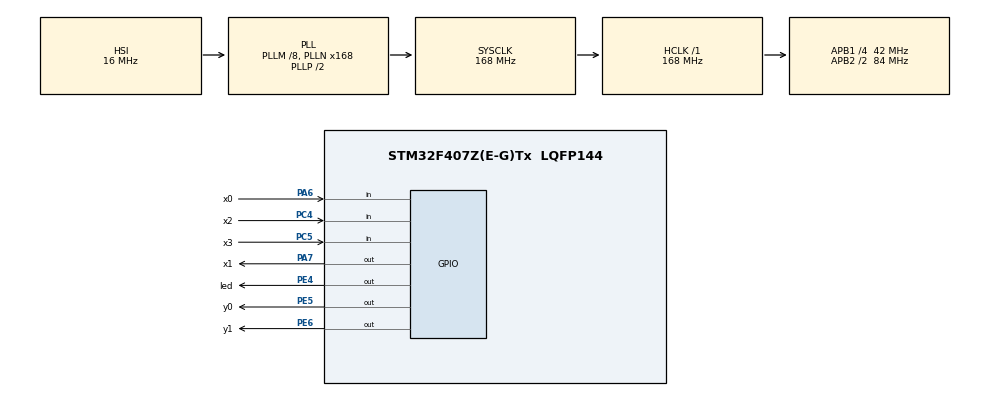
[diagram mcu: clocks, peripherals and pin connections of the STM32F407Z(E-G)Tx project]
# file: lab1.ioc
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Mcu.Family=STM32F4
Mcu.Name=STM32F407Z(E-G)Tx
Mcu.Package=LQFP144
NVIC.PriorityGroup=NVIC_PRIORITYGROUP_4
PA13.Mode=Serial_Wire
PA13.Signal=SYS_JTMS-SWDIO
PA14.Mode=Serial_Wire
PA14.Signal=SYS_JTCK-SWCLK
PA6.GPIO_Label=x0
PA6.Signal=GPIO_Input
PA7.GPIO_Label=x1
PA7.Signal=GPIO_Output
PC4.GPIO_Label=x2
PC4.Signal=GPIO_Input
PC5.GPIO_Label=x3
PC5.Signal=GPIO_Input
PE4.GPIO_Label=led
PE4.Signal=GPIO_Output
PE5.GPIO_Label=y0
PE5.Signal=GPIO_Output
PE6.GPIO_Label=y1
PE6.Signal=GPIO_Output
PH0-OSC_IN.Mode=HSE-External-Oscillator
PH0-OSC_IN.Signal=RCC_OSC_IN
PH1-OSC_OUT.Mode=HSE-External-Oscillator
PH1-OSC_OUT.Signal=RCC_OSC_OUT
ProjectManager.HeapSize=0x200
ProjectManager.StackSize=0x400
ProjectManager.TargetToolchain=STM32CubeIDE
RCC.48MHZClocksFreq_Value=84000000
RCC.AHBFreq_Value=168000000
RCC.APB1CLKDivider=RCC_HCLK_DIV4
RCC.APB1Freq_Value=42000000
RCC.APB1TimFreq_Value=84000000
RCC.APB2CLKDivider=RCC_HCLK_DIV2
RCC.APB2Freq_Value=84000000
RCC.APB2TimFreq_Value=168000000
RCC.CortexFreq_Value=168000000
RCC.HCLKFreq_Value=168000000
RCC.HSE_VALUE=8000000
RCC.HSI_VALUE=16000000
RCC.LSE_VALUE=32768
RCC.PLLM=8
RCC.PLLN=168
RCC.SYSCLKFreq_VALUE=168000000
RCC.SYSCLKSource=RCC_SYSCLKSOURCE_PLLCLK
RCC.VCOOutputFreq_Value=336000000
board=custom

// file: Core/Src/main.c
/* USER CODE BEGIN Header */
/**
  ******************************************************************************
  * @file           : main.c
  * @brief          : Main program body
  ******************************************************************************
  * @attention
  *
  * <h2><center>&copy; Copyright (c) 2024 STMicroelectronics.
  * All rights reserved.</center></h2>
  *
  * This software component is licensed by ST under BSD 3-Clause license,
  * the "License"; You may not use this file except in compliance with the
  * License. You may obtain a copy of the License at:
  *                        opensource.org/licenses/BSD-3-Clause
  *
  ******************************************************************************
  */
/* USER CODE END Header */
#include "main.h"

void SystemClock_Config(void);
static void MX_GPIO_Init(void);

/* USER CODE BEGIN 0 */
int cnt = 0;

void q1(){
	  HAL_GPIO_WritePin(led_GPIO_Port, led_Pin, SET);
	  HAL_Delay(2000);
	  HAL_GPIO_WritePin(led_GPIO_Port, led_Pin, RESET);
	  HAL_Delay(4000);
}

void q2(){
	if (cnt == 2){
		HAL_GPIO_TogglePin(led_GPIO_Port, led_Pin);
	}else if (cnt == 6){
		HAL_GPIO_TogglePin(led_GPIO_Port, led_Pin);
		cnt = 0;
	}cnt++;
}

void q3(){
	if (cnt == 5){
		HAL_GPIO_TogglePin(led_GPIO_Port, led_Pin);	//red off
		HAL_GPIO_TogglePin(y0_GPIO_Port, y0_Pin); //green on
	}else if (cnt == 8){
		HAL_GPIO_TogglePin(y0_GPIO_Port, y0_Pin); //green off
		HAL_GPIO_TogglePin(y1_GPIO_Port, y1_Pin); //y on
	}else if (cnt == 9){
		HAL_GPIO_TogglePin(y1_GPIO_Port, y1_Pin);
		HAL_GPIO_TogglePin(led_GPIO_Port, led_Pin);
		cnt=0;
	}cnt++;
}
/* USER CODE END 0 */

int main(void)
{

  /* MCU Configuration--------------------------------------------------------*/

  /* Reset of all peripherals, Initializes the Flash interface and the Systick. */
  HAL_Init();

  /* Configure the system clock */
  SystemClock_Config();

  /* Initialize all configured peripherals */
  MX_GPIO_Init();
  /* USER CODE BEGIN 2 */
  HAL_GPIO_WritePin(led_GPIO_Port, led_Pin, 1);
  HAL_GPIO_WritePin(y0_GPIO_Port, y0_Pin, 0);
  HAL_GPIO_WritePin(y1_GPIO_Port, y1_Pin, 0);
  /* USER CODE END 2 */

  /* Infinite loop */
  /* USER CODE BEGIN WHILE */
  while (1)
  {
//	  q1();
//	  q2();
//	  q3();
	  HAL_Delay(1000);
    /* USER CODE END WHILE */

  }
}

void SystemClock_Config(void)
{
  RCC_OscInitTypeDef RCC_OscInitStruct = {0};
  RCC_ClkInitTypeDef RCC_ClkInitStruct = {0};

  /** Configure the main internal regulator output voltage
  */
  __HAL_RCC_PWR_CLK_ENABLE();
  __HAL_PWR_VOLTAGESCALING_CONFIG(PWR_REGULATOR_VOLTAGE_SCALE1);
  /** Initializes the RCC Oscillators according to the specified parameters
  * in the RCC_OscInitTypeDef structure.
  */
  RCC_OscInitStruct.OscillatorType = RCC_OSCILLATORTYPE_HSI;
  RCC_OscInitStruct.HSIState = RCC_HSI_ON;
  RCC_OscInitStruct.HSICalibrationValue = RCC_HSICALIBRATION_DEFAULT;
  RCC_OscInitStruct.PLL.PLLState = RCC_PLL_ON;
  RCC_OscInitStruct.PLL.PLLSource = RCC_PLLSOURCE_HSI;
  RCC_OscInitStruct.PLL.PLLM = 8;
  RCC_OscInitStruct.PLL.PLLN = 168;
  RCC_OscInitStruct.PLL.PLLP = RCC_PLLP_DIV2;
  RCC_OscInitStruct.PLL.PLLQ = 4;
  if (HAL_RCC_OscConfig(&RCC_OscInitStruct) != HAL_OK)
  {
    Error_Handler();
  }
  /** Initializes the CPU, AHB and APB buses clocks
  */
  RCC_ClkInitStruct.ClockType = RCC_CLOCKTYPE_HCLK|RCC_CLOCKTYPE_SYSCLK
                              |RCC_CLOCKTYPE_PCLK1|RCC_CLOCKTYPE_PCLK2;
  RCC_ClkInitStruct.SYSCLKSource = RCC_SYSCLKSOURCE_PLLCLK;
  RCC_ClkInitStruct.AHBCLKDivider = RCC_SYSCLK_DIV1;
  RCC_ClkInitStruct.APB1CLKDivider = RCC_HCLK_DIV4;
  RCC_ClkInitStruct.APB2CLKDivider = RCC_HCLK_DIV2;

  if (HAL_RCC_ClockConfig(&RCC_ClkInitStruct, FLASH_LATENCY_5) != HAL_OK)
  {
    Error_Handler();
  }
}

static void MX_GPIO_Init(void)
{
  GPIO_InitTypeDef GPIO_InitStruct = {0};

  /* GPIO Ports Clock Enable */
  __HAL_RCC_GPIOE_CLK_ENABLE();
  __HAL_RCC_GPIOH_CLK_ENABLE();
  __HAL_RCC_GPIOA_CLK_ENABLE();
  __HAL_RCC_GPIOC_CLK_ENABLE();

  /*Configure GPIO pin Output Level */
  HAL_GPIO_WritePin(GPIOE, led_Pin|y0_Pin|y1_Pin, GPIO_PIN_RESET);

  /*Configure GPIO pin Output Level */
  HAL_GPIO_WritePin(x1_GPIO_Port, x1_Pin, GPIO_PIN_RESET);

  /*Configure GPIO pins : led_Pin y0_Pin y1_Pin */
  GPIO_InitStruct.Pin = led_Pin|y0_Pin|y1_Pin;
  GPIO_InitStruct.Mode = GPIO_MODE_OUTPUT_PP;
  GPIO_InitStruct.Pull = GPIO_NOPULL;
  GPIO_InitStruct.Speed = GPIO_SPEED_FREQ_LOW;
  HAL_GPIO_Init(GPIOE, &GPIO_InitStruct);

  /*Configure GPIO pin : x0_Pin */
  GPIO_InitStruct.Pin = x0_Pin;
  GPIO_InitStruct.Mode = GPIO_MODE_INPUT;
  GPIO_InitStruct.Pull = GPIO_NOPULL;
  HAL_GPIO_Init(x0_GPIO_Port, &GPIO_InitStruct);

  /*Configure GPIO pin : x1_Pin */
  GPIO_InitStruct.Pin = x1_Pin;
  GPIO_InitStruct.Mode = GPIO_MODE_OUTPUT_PP;
  GPIO_InitStruct.Pull = GPIO_NOPULL;
  GPIO_InitStruct.Speed = GPIO_SPEED_FREQ_LOW;
  HAL_GPIO_Init(x1_GPIO_Port, &GPIO_InitStruct);

  /*Configure GPIO pins : x2_Pin x3_Pin */
  GPIO_InitStruct.Pin = x2_Pin|x3_Pin;
  GPIO_InitStruct.Mode = GPIO_MODE_INPUT;
  GPIO_InitStruct.Pull = GPIO_NOPULL;
  HAL_GPIO_Init(GPIOC, &GPIO_InitStruct);

}

void Error_Handler(void)
{
  __disable_irq();
  while (1)
  {
  }
}

/************************ (C) COPYRIGHT STMicroelectronics *****END OF FILE****/
